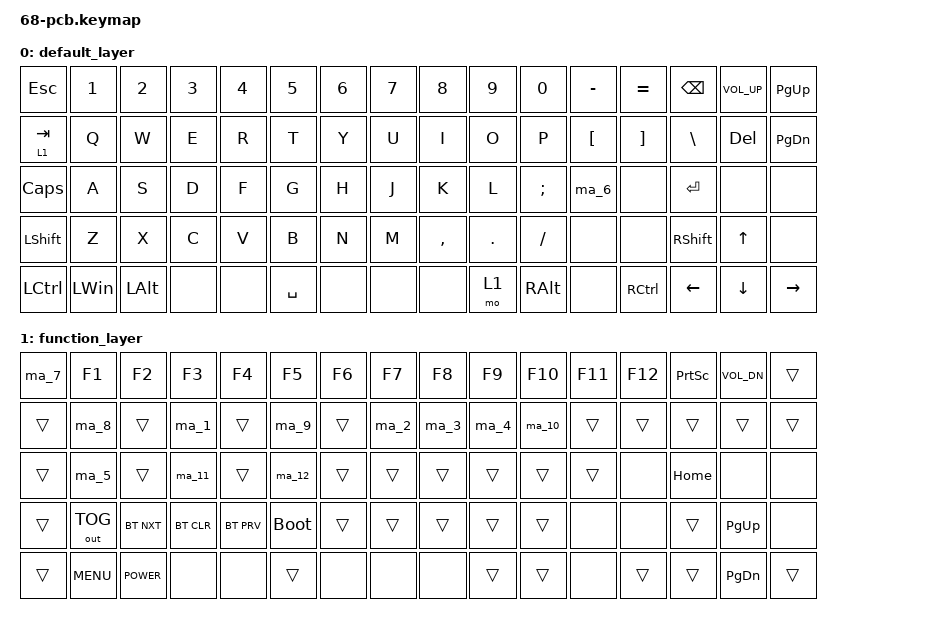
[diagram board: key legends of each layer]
/*
 * Copyright (c) 2020 The ZMK Contributors
 *
 * SPDX-License-Identifier: MIT
 */

#include <behaviors.dtsi>
#include <dt-bindings/zmk/bt.h>
#include <dt-bindings/zmk/keys.h>
#include <dt-bindings/zmk/outputs.h>

#define DEF 0
#define FUN 1

/ {
    macros {
        /* è: `E */

        ma_1: ma_1 {
            label = "ma_1";
            compatible = "zmk,behavior-macro";
            #binding-cells = <0>;
            bindings = <&macro_tap>, <&kp GRAVE>, <&macro_tap>, <&kp E>;
        };

        /* ù: `U */

        ma_2: ma_2 {
            label = "ma_2";
            compatible = "zmk,behavior-macro";
            #binding-cells = <0>;
            bindings = <&macro_tap>, <&kp GRAVE>, <&macro_tap>, <&kp U>;
        };

        /* ì: `I */

        ma_3: ma_3 {
            label = "ma_3";
            compatible = "zmk,behavior-macro";
            #binding-cells = <0>;
            bindings = <&macro_tap>, <&kp GRAVE>, <&macro_tap>, <&kp I>;
        };

        /* ò: `O */

        ma_4: ma_4 {
            label = "ma_4";
            compatible = "zmk,behavior-macro";
            #binding-cells = <0>;
            bindings = <&macro_tap>, <&kp GRAVE>, <&macro_tap>, <&kp O>;
        };

        /* à: `A */

        ma_5: ma_5 {
            label = "ma_5";
            compatible = "zmk,behavior-macro";
            #binding-cells = <0>;
            bindings = <&macro_tap>, <&kp GRAVE>, <&macro_tap>, <&kp A>;
        };

        /* ': '  */

        ma_6: ma_6 {
            label = "ma_6";
            compatible = "zmk,behavior-macro";
            #binding-cells = <0>;
            bindings = <&macro_tap>, <&kp SQT>, <&macro_tap>, <&kp SPACE>;
        };

        /* `:`  */

        ma_7: ma_7 {
            label = "ma_7";
            compatible = "zmk,behavior-macro";
            #binding-cells = <0>;
            bindings = <&macro_tap>, <&kp GRAVE>, <&macro_tap>, <&kp SPACE>;
        };

        /* ²: Alt253 */

        ma_8: ma_8 {
            label = "ma_8";
            compatible = "zmk,behavior-macro";
            #binding-cells = <0>;
            bindings =
                <&macro_press>,
                <&kp LALT>,
                <&macro_tap>,
                <&kp KP_N2>,
                <&macro_tap>,
                <&kp KP_N5>,
                <&macro_tap>,
                <&kp KP_N3>,
                <&macro_release>,
                <&kp LALT>;
        };

        /* ~: Alt126 */

        ma_9: ma_9 {
            label = "ma_9";
            compatible = "zmk,behavior-macro";
            #binding-cells = <0>;
            bindings =
                <&macro_press>,
                <&kp LALT>,
                <&macro_tap>,
                <&kp KP_N1>,
                <&macro_tap>,
                <&kp KP_N2>,
                <&macro_tap>,
                <&kp KP_N6>,
                <&macro_release>,
                <&kp LALT>;
        };

        /* ×: Alt0215 */

        ma_10: ma_10 {
            label = "ma_10";
            compatible = "zmk,behavior-macro";
            #binding-cells = <0>;
            bindings =
                <&macro_press>,
                <&kp LALT>,
                <&macro_tap>,
                <&kp KP_N0>,
                <&macro_tap>,
                <&kp KP_N2>,
                <&macro_tap>,
                <&kp KP_N1>,
                <&macro_tap>,
                <&kp KP_N5>,
                <&macro_release>,
                <&kp LALT>;
        };

        /* ÷: Alt0247 */

        ma_11: ma_11 {
            label = "ma_11";
            compatible = "zmk,behavior-macro";
            #binding-cells = <0>;
            bindings =
                <&macro_press>,
                <&kp LALT>,
                <&macro_tap>,
                <&kp KP_N0>,
                <&macro_tap>,
                <&kp KP_N2>,
                <&macro_tap>,
                <&kp KP_N4>,
                <&macro_tap>,
                <&kp KP_N7>,
                <&macro_release>,
                <&kp LALT>;
        };

        ma_12: ma_12 {
            compatible = "zmk,behavior-macro";
            #binding-cells = <0>;
            bindings =
                <&macro_press>,
                <&kp RIGHT_ALT>,
                <&macro_press>,
                <&kp RIGHT_SHIFT>,
                <&macro_tap>,
                <&kp SEMICOLON>,
                <&macro_release>,
                <&kp RIGHT_SHIFT>,
                <&macro_release>,
                <&kp RIGHT_ALT>;

            label = "MA_12";
        };
    };
};

/ {
    behaviors {
        ht: hold_tap {
            compatible = "zmk,behavior-hold-tap";
            label = "Hold Tap";
            #binding-cells = <2>;
            tapping-term-ms = <200>;
            flavor = "tap-preferred";
            bindings = <&kp>, <&kp>;
        };
    };

    keymap {
        compatible = "zmk,keymap";

        default_layer {
            bindings = <
&kp ESC           &kp NUMBER_1  &kp NUMBER_2  &kp NUMBER_3  &kp NUMBER_4  &kp NUMBER_5  &kp NUMBER_6  &kp NUMBER_7  &kp NUMBER_8  &kp NUMBER_9  &kp NUMBER_0   &kp MINUS         &kp EQUAL          &kp BACKSPACE   &kp C_VOL_UP    &kp PAGE_UP
&lt 1 TAB         &kp Q         &kp W         &kp E         &kp R         &kp T         &kp Y         &kp U         &kp I         &kp O         &kp P          &kp LEFT_BRACKET  &kp RIGHT_BRACKET  &kp BACKSLASH   &kp DEL         &kp PAGE_DOWN
&kp CAPSLOCK      &kp A         &kp S         &kp D         &kp F         &kp G         &kp H         &kp J         &kp K         &kp L         &kp SEMICOLON  &ma_6             &none              &kp ENTER       &none           &none
&kp LEFT_SHIFT    &kp Z         &kp X         &kp C         &kp V         &kp B         &kp N         &kp M         &kp COMMA     &kp PERIOD    &kp SLASH      &none             &none              &kp RSHIFT      &kp UP_ARROW    &none
&kp LEFT_CONTROL  &kp LEFT_WIN  &kp LEFT_ALT  &none         &none         &kp SPACE     &none         &none         &none         &mo 1         &kp RIGHT_ALT  &none             &kp RIGHT_CONTROL  &kp LEFT_ARROW  &kp DOWN_ARROW  &kp RIGHT_ARROW
            >;
        };

        function_layer {
            bindings = <
&ma_7   &kp F1        &kp F2       &kp F3      &kp F4      &kp F5       &kp F6  &kp F7  &kp F8  &kp F9  &kp F10  &kp F11  &kp F12  &kp PRINTSCREEN  &kp C_VOL_DN   &trans
&trans  &ma_8         &trans       &ma_1       &trans      &ma_9        &trans  &ma_2   &ma_3   &ma_4   &ma_10   &trans   &trans   &trans           &trans         &trans
&trans  &ma_5         &trans       &ma_11      &trans      &ma_12       &trans  &trans  &trans  &trans  &trans   &trans   &none    &kp HOME         &none          &none
&trans  &out OUT_TOG  &bt BT_NXT   &bt BT_CLR  &bt BT_PRV  &bootloader  &trans  &trans  &trans  &trans  &trans   &none    &none    &trans           &kp PAGE_UP    &none
&trans  &kp C_MENU    &kp C_POWER  &none       &none       &trans       &none   &none   &none   &trans  &trans   &none    &trans   &trans           &kp PAGE_DOWN  &trans
            >;
        };
    };
};
